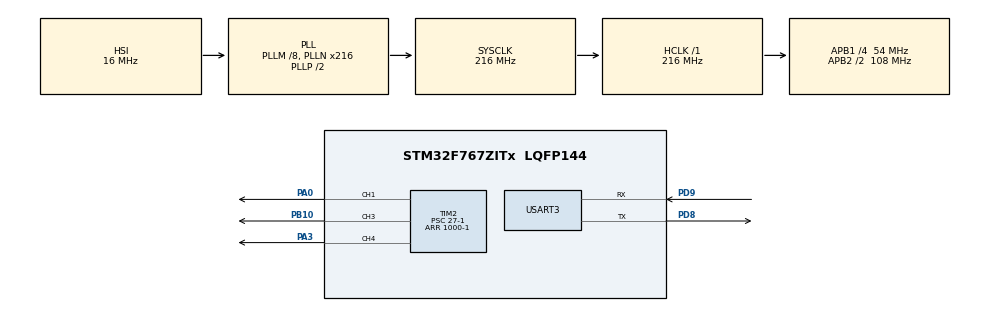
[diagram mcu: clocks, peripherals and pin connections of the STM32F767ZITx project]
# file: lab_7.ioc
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Mcu.Family=STM32F7
Mcu.Name=STM32F767ZITx
Mcu.Package=LQFP144
NVIC.PriorityGroup=NVIC_PRIORITYGROUP_4
PA0/WKUP.Signal=S_TIM2_CH1_ETR
PA3.Signal=S_TIM2_CH4
PB10.GPIO_Speed=GPIO_SPEED_FREQ_VERY_HIGH
PB10.Signal=S_TIM2_CH3
PD8.Mode=Asynchronous
PD8.Signal=USART3_TX
PD9.Mode=Asynchronous
PD9.Signal=USART3_RX
ProjectManager.HeapSize=0x200
ProjectManager.StackSize=0x400
ProjectManager.TargetToolchain=STM32CubeIDE
RCC.AHBFreq_Value=216000000
RCC.APB1CLKDivider=RCC_HCLK_DIV4
RCC.APB1Freq_Value=54000000
RCC.APB1TimFreq_Value=108000000
RCC.APB2CLKDivider=RCC_HCLK_DIV2
RCC.APB2Freq_Value=108000000
RCC.APB2TimFreq_Value=216000000
RCC.CortexFreq_Value=216000000
RCC.HCLKFreq_Value=216000000
RCC.HSE_VALUE=25000000
RCC.HSI_VALUE=16000000
RCC.LSE_VALUE=32768
RCC.PLLM=8
RCC.PLLN=216
RCC.SYSCLKFreq_VALUE=216000000
RCC.SYSCLKSource=RCC_SYSCLKSOURCE_PLLCLK
RCC.USBFreq_Value=216000000
RCC.VCOOutputFreq_Value=432000000
SH.S_TIM2_CH1_ETR.0=TIM2_CH1,PWM Generation1 CH1
SH.S_TIM2_CH3.0=TIM2_CH3,PWM Generation3 CH3
SH.S_TIM2_CH4.0=TIM2_CH4,PWM Generation4 CH4
TIM2.Channel-PWM\ Generation1\ CH1=TIM_CHANNEL_1
TIM2.Channel-PWM\ Generation3\ CH3=TIM_CHANNEL_3
TIM2.Channel-PWM\ Generation4\ CH4=TIM_CHANNEL_4
TIM2.Period=1000-1
TIM2.Prescaler=27-1
TIM2.Pulse-PWM\ Generation3\ CH3=10000/4-1
USART3.VirtualMode-Asynchronous=VM_ASYNC
VP_TIM2_VS_ClockSourceINT.Mode=Internal
board=custom

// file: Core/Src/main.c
/* USER CODE BEGIN Header */
/**
  ******************************************************************************
  * @file           : main.c
  * @brief          : Main program body
  ******************************************************************************
  * @attention
  *
  * <h2><center>&copy; Copyright (c) 2020 STMicroelectronics.
  * All rights reserved.</center></h2>
  *
  * This software component is licensed by ST under BSD 3-Clause license,
  * the "License"; You may not use this file except in compliance with the
  * License. You may obtain a copy of the License at:
  *                        opensource.org/licenses/BSD-3-Clause
  *
  ******************************************************************************
  */
/* USER CODE END Header */
#include "main.h"

TIM_HandleTypeDef htim2;

UART_HandleTypeDef huart3;

/* USER CODE BEGIN PV */
uint8_t pwm;
float duty_cycle_r = 0.0;
float duty_cycle_g = 0.0;
float duty_cycle_b = 0.0;
char input;
/* USER CODE END PV */

void SystemClock_Config(void);
static void MX_GPIO_Init(void);
static void MX_TIM2_Init(void);
static void MX_USART3_UART_Init(void);

int main(void)
{

  /* MCU Configuration--------------------------------------------------------*/

  /* Reset of all peripherals, Initializes the Flash interface and the Systick. */
  HAL_Init();

  /* Configure the system clock */
  SystemClock_Config();

  /* Initialize all configured peripherals */
  MX_GPIO_Init();
  MX_TIM2_Init();
  MX_USART3_UART_Init();
  /* USER CODE BEGIN 2 */
  HAL_TIM_PWM_Start(&htim2, TIM_CHANNEL_3);
  HAL_TIM_PWM_Start(&htim2, TIM_CHANNEL_1);
  HAL_TIM_PWM_Start(&htim2, TIM_CHANNEL_4);
  /* USER CODE END 2 */

  /* Infinite loop */
  /* USER CODE BEGIN WHILE */
  while (1)
  {
	  // receive input
	  HAL_UART_Receive(&huart3, &input, sizeof(char), 1000);
	  HAL_Delay(100);

	  // update duty cycle
	  if(input == 'r') {
		  if(duty_cycle_r<1.0) duty_cycle_r += .2;
		  else duty_cycle_r = .0;
	  }
	  if(input == 'g') {
		  if(duty_cycle_g<1.0) duty_cycle_g += .2;
		  else duty_cycle_g = .0;
	  }
	  if(input == 'b') {
		  if(duty_cycle_b<1.0) duty_cycle_b += .2;
		  else duty_cycle_b = .0;
	  }

	  input = 0;

	  // render
	  htim2.Instance->CCR3 = (1000-1) * (duty_cycle_b);
	  pwm = (GPIOB->IDR & GPIO_PIN_10) >> 10;
	  htim2.Instance->CCR1 = (1000-1) * (duty_cycle_r);
	  pwm = (GPIOA->IDR & GPIO_PIN_0) >> 10;
	  htim2.Instance->CCR4 = (1000-1) * (duty_cycle_g);
	  pwm = (GPIOA->IDR & GPIO_PIN_3) >> 10;
    /* USER CODE END WHILE */

  }
}

void SystemClock_Config(void)
{
  RCC_OscInitTypeDef RCC_OscInitStruct = {0};
  RCC_ClkInitTypeDef RCC_ClkInitStruct = {0};
  RCC_PeriphCLKInitTypeDef PeriphClkInitStruct = {0};

  /** Configure the main internal regulator output voltage
  */
  __HAL_RCC_PWR_CLK_ENABLE();
  __HAL_PWR_VOLTAGESCALING_CONFIG(PWR_REGULATOR_VOLTAGE_SCALE1);
  /** Initializes the RCC Oscillators according to the specified parameters
  * in the RCC_OscInitTypeDef structure.
  */
  RCC_OscInitStruct.OscillatorType = RCC_OSCILLATORTYPE_HSI;
  RCC_OscInitStruct.HSIState = RCC_HSI_ON;
  RCC_OscInitStruct.HSICalibrationValue = RCC_HSICALIBRATION_DEFAULT;
  RCC_OscInitStruct.PLL.PLLState = RCC_PLL_ON;
  RCC_OscInitStruct.PLL.PLLSource = RCC_PLLSOURCE_HSI;
  RCC_OscInitStruct.PLL.PLLM = 8;
  RCC_OscInitStruct.PLL.PLLN = 216;
  RCC_OscInitStruct.PLL.PLLP = RCC_PLLP_DIV2;
  RCC_OscInitStruct.PLL.PLLQ = 2;
  if (HAL_RCC_OscConfig(&RCC_OscInitStruct) != HAL_OK)
  {
    Error_Handler();
  }
  /** Activate the Over-Drive mode
  */
  if (HAL_PWREx_EnableOverDrive() != HAL_OK)
  {
    Error_Handler();
  }
  /** Initializes the CPU, AHB and APB buses clocks
  */
  RCC_ClkInitStruct.ClockType = RCC_CLOCKTYPE_HCLK|RCC_CLOCKTYPE_SYSCLK
                              |RCC_CLOCKTYPE_PCLK1|RCC_CLOCKTYPE_PCLK2;
  RCC_ClkInitStruct.SYSCLKSource = RCC_SYSCLKSOURCE_PLLCLK;
  RCC_ClkInitStruct.AHBCLKDivider = RCC_SYSCLK_DIV1;
  RCC_ClkInitStruct.APB1CLKDivider = RCC_HCLK_DIV4;
  RCC_ClkInitStruct.APB2CLKDivider = RCC_HCLK_DIV2;

  if (HAL_RCC_ClockConfig(&RCC_ClkInitStruct, FLASH_LATENCY_7) != HAL_OK)
  {
    Error_Handler();
  }
  PeriphClkInitStruct.PeriphClockSelection = RCC_PERIPHCLK_USART3;
  PeriphClkInitStruct.Usart3ClockSelection = RCC_USART3CLKSOURCE_PCLK1;
  if (HAL_RCCEx_PeriphCLKConfig(&PeriphClkInitStruct) != HAL_OK)
  {
    Error_Handler();
  }
}

static void MX_TIM2_Init(void)
{

  TIM_ClockConfigTypeDef sClockSourceConfig = {0};
  TIM_MasterConfigTypeDef sMasterConfig = {0};
  TIM_OC_InitTypeDef sConfigOC = {0};

  htim2.Instance = TIM2;
  htim2.Init.Prescaler = 27-1;
  htim2.Init.CounterMode = TIM_COUNTERMODE_UP;
  htim2.Init.Period = 1000-1;
  htim2.Init.ClockDivision = TIM_CLOCKDIVISION_DIV1;
  htim2.Init.AutoReloadPreload = TIM_AUTORELOAD_PRELOAD_DISABLE;
  if (HAL_TIM_Base_Init(&htim2) != HAL_OK)
  {
    Error_Handler();
  }
  sClockSourceConfig.ClockSource = TIM_CLOCKSOURCE_INTERNAL;
  if (HAL_TIM_ConfigClockSource(&htim2, &sClockSourceConfig) != HAL_OK)
  {
    Error_Handler();
  }
  if (HAL_TIM_PWM_Init(&htim2) != HAL_OK)
  {
    Error_Handler();
  }
  sMasterConfig.MasterOutputTrigger = TIM_TRGO_RESET;
  sMasterConfig.MasterSlaveMode = TIM_MASTERSLAVEMODE_DISABLE;
  if (HAL_TIMEx_MasterConfigSynchronization(&htim2, &sMasterConfig) != HAL_OK)
  {
    Error_Handler();
  }
  sConfigOC.OCMode = TIM_OCMODE_PWM1;
  sConfigOC.Pulse = 0;
  sConfigOC.OCPolarity = TIM_OCPOLARITY_HIGH;
  sConfigOC.OCFastMode = TIM_OCFAST_DISABLE;
  if (HAL_TIM_PWM_ConfigChannel(&htim2, &sConfigOC, TIM_CHANNEL_1) != HAL_OK)
  {
    Error_Handler();
  }
  sConfigOC.Pulse = 10000/4-1;
  if (HAL_TIM_PWM_ConfigChannel(&htim2, &sConfigOC, TIM_CHANNEL_3) != HAL_OK)
  {
    Error_Handler();
  }
  sConfigOC.Pulse = 0;
  if (HAL_TIM_PWM_ConfigChannel(&htim2, &sConfigOC, TIM_CHANNEL_4) != HAL_OK)
  {
    Error_Handler();
  }
  HAL_TIM_MspPostInit(&htim2);

}

static void MX_USART3_UART_Init(void)
{

  huart3.Instance = USART3;
  huart3.Init.BaudRate = 115200;
  huart3.Init.WordLength = UART_WORDLENGTH_8B;
  huart3.Init.StopBits = UART_STOPBITS_1;
  huart3.Init.Parity = UART_PARITY_NONE;
  huart3.Init.Mode = UART_MODE_TX_RX;
  huart3.Init.HwFlowCtl = UART_HWCONTROL_NONE;
  huart3.Init.OverSampling = UART_OVERSAMPLING_16;
  huart3.Init.OneBitSampling = UART_ONE_BIT_SAMPLE_DISABLE;
  huart3.AdvancedInit.AdvFeatureInit = UART_ADVFEATURE_NO_INIT;
  if (HAL_UART_Init(&huart3) != HAL_OK)
  {
    Error_Handler();
  }

}

static void MX_GPIO_Init(void)
{

  /* GPIO Ports Clock Enable */
  __HAL_RCC_GPIOA_CLK_ENABLE();
  __HAL_RCC_GPIOB_CLK_ENABLE();
  __HAL_RCC_GPIOD_CLK_ENABLE();

}

void Error_Handler(void)
{
}

/************************ (C) COPYRIGHT STMicroelectronics *****END OF FILE****/
